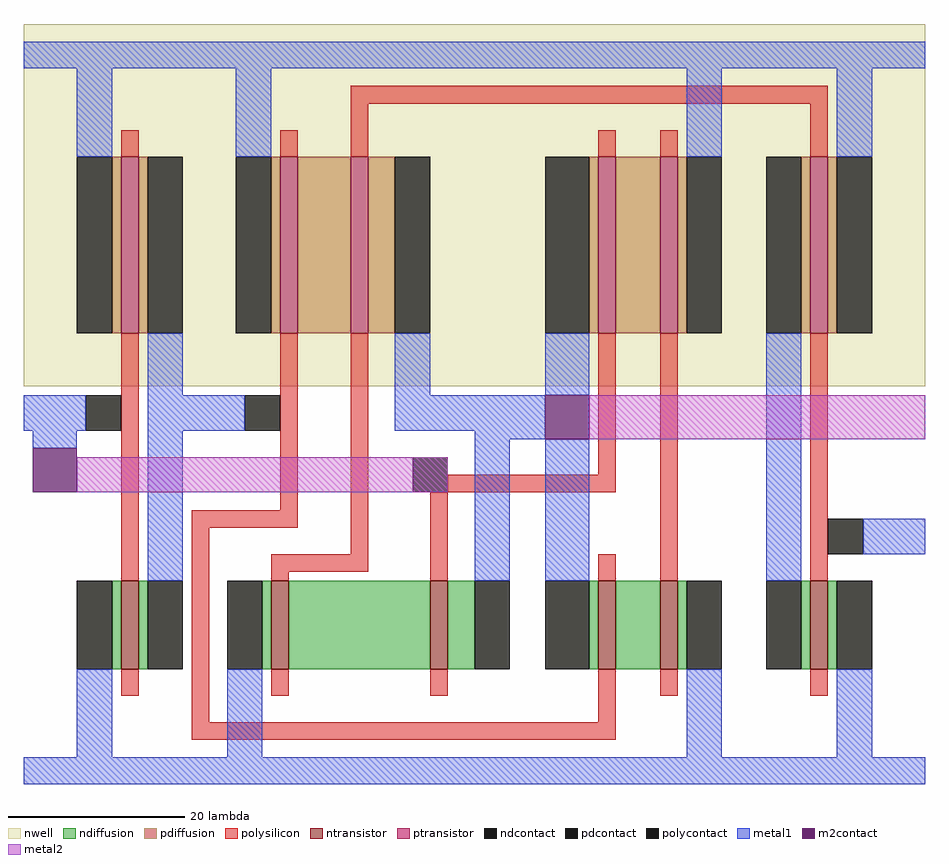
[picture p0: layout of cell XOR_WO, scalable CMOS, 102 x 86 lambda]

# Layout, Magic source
magic
tech scmos
<< nwell >>
rect -1 0 101 41
<< ntransistor >>
rect 10 -32 12 -22
rect 27 -32 29 -22
rect 45 -32 47 -22
rect 64 -32 66 -22
rect 71 -32 73 -22
rect 88 -32 90 -22
<< ptransistor >>
rect 10 6 12 26
rect 28 6 30 26
rect 36 6 38 26
rect 64 6 66 26
rect 71 6 73 26
rect 88 6 90 26
<< ndiffusion >>
rect 9 -32 10 -22
rect 12 -32 13 -22
rect 26 -32 27 -22
rect 29 -32 45 -22
rect 47 -32 50 -22
rect 63 -32 64 -22
rect 66 -32 71 -22
rect 73 -32 74 -22
rect 87 -32 88 -22
rect 90 -32 91 -22
<< pdiffusion >>
rect 9 6 10 26
rect 12 6 13 26
rect 27 6 28 26
rect 30 6 36 26
rect 38 6 41 26
rect 63 6 64 26
rect 66 6 71 26
rect 73 6 74 26
rect 87 6 88 26
rect 90 6 91 26
<< ndcontact >>
rect 5 -32 9 -22
rect 13 -32 17 -22
rect 22 -32 26 -22
rect 50 -32 54 -22
rect 58 -32 63 -22
rect 74 -32 78 -22
rect 83 -32 87 -22
rect 91 -32 95 -22
<< pdcontact >>
rect 5 6 9 26
rect 13 6 17 26
rect 23 6 27 26
rect 41 6 45 26
rect 58 6 63 26
rect 74 6 78 26
rect 83 6 87 26
rect 91 6 95 26
<< polysilicon >>
rect 36 32 90 34
rect 10 26 12 29
rect 28 26 30 29
rect 36 26 38 32
rect 64 26 66 29
rect 71 26 73 29
rect 88 26 90 32
rect 10 -22 12 6
rect 28 -14 30 6
rect 18 -16 30 -14
rect 10 -35 12 -32
rect 18 -38 20 -16
rect 36 -19 38 6
rect 64 -10 66 6
rect 47 -12 66 -10
rect 27 -21 38 -19
rect 27 -22 29 -21
rect 45 -22 47 -12
rect 64 -22 66 -19
rect 71 -22 73 6
rect 88 -22 90 6
rect 27 -35 29 -32
rect 45 -35 47 -32
rect 64 -38 66 -32
rect 71 -35 73 -32
rect 88 -35 90 -32
rect 18 -40 66 -38
<< polycontact >>
rect 6 -5 10 -1
rect 24 -5 28 -1
rect 43 -12 47 -8
rect 90 -19 94 -15
<< metal1 >>
rect -1 36 101 39
rect 5 26 9 36
rect 23 26 27 36
rect 74 26 78 36
rect 91 26 95 36
rect 13 -1 17 6
rect 41 -1 45 6
rect 58 -1 63 6
rect -1 -5 6 -1
rect 13 -5 24 -1
rect 41 -5 58 -1
rect 0 -7 5 -5
rect 13 -22 17 -5
rect 50 -6 58 -5
rect 50 -22 54 -6
rect 58 -22 63 -6
rect 83 -22 87 6
rect 94 -19 101 -15
rect 5 -42 9 -32
rect 22 -42 26 -32
rect 74 -42 78 -32
rect 91 -42 95 -32
rect -1 -45 101 -42
<< m2contact >>
rect 0 -12 5 -7
rect 58 -6 63 -1
<< metal2 >>
rect 63 -6 101 -1
rect 5 -12 47 -8
<< end >>
